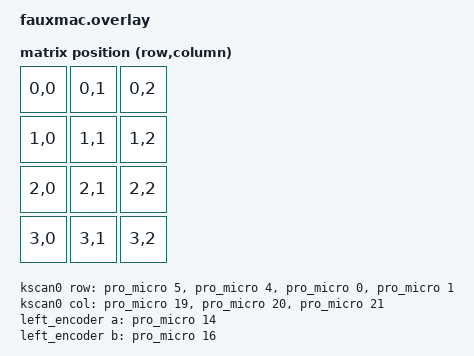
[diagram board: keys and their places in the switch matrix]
#include <dt-bindings/zmk/matrix_transform.h>
#include <dt-bindings/gpio/gpio.h>

/*
 * Pin map (confirmed by your testing):
 *
 *   Matrix rows:  pm 5, 4, 1, 0  (rows 0–3) — your working key pins
 *   Matrix cols:  pm 19, 20, 21
 *   Encoder:      pm 14, 16
 *   OLED I2C:     nice!nano defaults P0.17 (SDA) / P0.20 (SCL) = pm 2/3
 *
 *   Rows 2/3 (pm 0/1) do NOT conflict with OLED (pm 2/3). No pin juggling needed.
 *
 *   Display orientation: fauxmac mounts the 128×32 OLED vertically (QMK uses
 *   270° rotation). ZMK only supports hardware flip via segment-remap / com-invdir.
 *   If the image looks wrong, try the alternate oled property blocks below.
 */

&uart0 {
    status = "disabled";
};

&spi1 {
    status = "disabled";
};

/ {
    chosen {
        zephyr,display = &oled;
        zmk,kscan = &kscan0;
        zmk,matrix-transform = &default_transform;
    };

    default_transform: matrix_transform {
        compatible = "zmk,matrix-transform";
        rows = <4>;
        columns = <3>;
        map = <
            RC(0,0) RC(0,1) RC(0,2)
            RC(1,0) RC(1,1) RC(1,2)
            RC(2,0) RC(2,1) RC(2,2)
            RC(3,0) RC(3,1) RC(3,2)
        >;
    };

    kscan0: kscan {
        compatible = "zmk,kscan-gpio-matrix";
        diode-direction = "col2row";
        wakeup-source;
        debounce-press-ms = <10>;
        debounce-release-ms = <10>;

        row-gpios
            = <&pro_micro 5 (GPIO_ACTIVE_HIGH | GPIO_PULL_DOWN)>
            , <&pro_micro 4 (GPIO_ACTIVE_HIGH | GPIO_PULL_DOWN)>
            , <&pro_micro 0 (GPIO_ACTIVE_HIGH | GPIO_PULL_DOWN)>
            , <&pro_micro 1 (GPIO_ACTIVE_HIGH | GPIO_PULL_DOWN)>
            ;

        col-gpios
            = <&pro_micro 19 GPIO_ACTIVE_HIGH>
            , <&pro_micro 20 GPIO_ACTIVE_HIGH>
            , <&pro_micro 21 GPIO_ACTIVE_HIGH>
            ;
    };

    left_encoder: encoder {
        compatible = "alps,ec11";
        a-gpios = <&pro_micro 14 (GPIO_ACTIVE_HIGH | GPIO_PULL_UP)>;
        b-gpios = <&pro_micro 16 (GPIO_ACTIVE_HIGH | GPIO_PULL_UP)>;
        steps = <80>;
        status = "okay";
    };

    sensors: sensors {
        compatible = "zmk,keymap-sensors";
        sensors = <&left_encoder>;
        triggers-per-rotation = <20>;
    };
};

&pro_micro_i2c {
    status = "okay";

    oled: ssd1306@3c {
        compatible = "solomon,ssd1306fb";
        reg = <0x3c>;
        width = <128>;
        height = <32>;
        segment-offset = <0>;
        page-offset = <0>;
        display-offset = <0>;
        multiplex-ratio = <31>;
        /* Active: matches murphpad / knob_goblin — try alternates below if skewed  */
        segment-remap;
        com-invdir;
        com-sequential;
        inversion-on;
        prechargep = <0x22>;
    };
};
